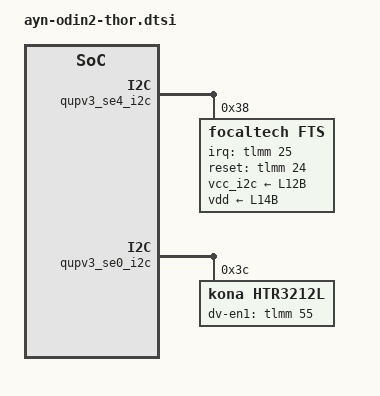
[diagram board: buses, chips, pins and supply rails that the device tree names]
/*
 * AYN Odin 2 Thor board device tree (CAF /plugin/ overlay body).
 *
 * FIRST-CUT GOAL: a clean-compiling, correctly-wired overlay that produces a
 * merged ayn-odin2-thor-overlay*.dtbo paired with kalamap-qcs.dtb (QCS8550).
 *
 * Strategy: reuse the proven-compiling kalama-qrd board overrides (storage,
 * volume key, LRA haptics @1300mV, microSD, UFS, USB redriver/eUSB2, touch,
 * PMIC LED switches) by #include, then layer ONLY Thor-specific deltas that
 * reference node labels guaranteed to exist in that include chain / kalama
 * base. Thor's dual-panel display (CH13726A + ICNA3520), FocalTech dual-touch,
 * htr3212 RGB controllers, and Bluetooth enable are deferred to the
 * hardware-iteration phase (they need new panel dtsi + a display techpack
 * overlay and are listed in risks).
 *
 * Hardware identity reference: LineageOS Gerrit 476787 (qcs8550-ayntec-thor),
 * compatible "ayntec,thor","qcom,qcs8550","qcom,sm8550".
 */

#include <dt-bindings/gpio/gpio.h>
#include <dt-bindings/input/input.h>

/*
 * Pull in the full, verified kalama-qrd board hardware. This already provides
 * &sdhc_2, &soc/gpio_key (volume up on pm8550_gpios 6), &pm8550b_haptics
 * (LRA, vmax 1300mV), &ufsphy_mem/&ufshc_mem, &pm8550_switch0/1/2,
 * &pm8550_flash, &qupv3_se4_spi touch, &usb0 / redriver / eusb2, &battery_charger,
 * &regulator_ocp_notifier, &pcie0 -- all referencing kalama base labels.
 */
#include "kalama-qrd.dtsi"

/*
 * Thor delta: add the AYN hardware button (KEY_F24) alongside the volume key.
 * gpio_key is (re)declared under &soc by kalama-qrd.dtsi; we extend it here.
 * gpio41 is the AYN/custom key per the THOR stock tree and Gerrit 476787.
 * Only &soc and &tlmm are referenced, both of which exist in the kalama base.
 */
&soc {
	gpio_key {
		ayn_key {
			label = "ayn_key";
			gpios = <&tlmm 41 GPIO_ACTIVE_LOW>;
			linux,input-type = <1>;
			linux,code = <KEY_F24>;
			gpio-key,wakeup;
			debounce-interval = <15>;
			linux,can-disable;
		};
	};
};

/*
 * Thor main touch = FocalTech FTS (focaltech@38) on QUP SE4 *I2C* (i2c@a90000),
 * not the goodix-on-SE4-SPI that kalama-qrd.dtsi wires up. SE4 I2C and SE4 SPI
 * are the same physical controller (reg a90000); only one may be active.
 *
 * Proven against the live AYN tree (/home/reddragon/thor-dt-dump/live-fdt.dts):
 *   i2c@a90000 status="okay" with focaltech@38; spi@a90000 status="disabled".
 *   focaltech@38: irq=tlmm25, reset=tlmm24 (same GPIOs as goodix), coords
 *   1080x1920 (0x438 x 0x780), max-touch 10, vcc_i2c=L12B(pm_humu_l12 1.8V),
 *   vdd=L14B(pm_humu_l14 3.0V, == goodix avdd).
 *
 * All referenced labels exist in the kalama base our overlay compiles against:
 *   &qupv3_se4_spi, &qupv3_se4_i2c (kalama-qupv3.dtsi),
 *   &tlmm, &ts_active/&ts_int_suspend/&ts_reset_suspend/&ts_release
 *   (kalama-pinctrl.dtsi -- note the live AYN ts_int_active/ts_reset_active are
 *   NOT in the kalama base, so we reuse the base &ts_active which muxes the same
 *   gpio24+gpio25), &L12B/&L14B (kalama-regulators.dtsi).
 */

/* Turn OFF goodix (kalama-qrd default) on SE4 SPI so SE4 can host I2C touch. */
&qupv3_se4_spi {
	status = "disabled";
};

/* Turn ON SE4 I2C and attach the FocalTech FTS controller. */
&qupv3_se4_i2c {
	status = "ok";
	#address-cells = <1>;
	#size-cells = <0>;

	focaltech@38 {
		compatible = "focaltech,fts";
		reg = <0x38>;
		qcom,i2c-touch-active = "focaltech,fts";

		interrupt-parent = <&tlmm>;
		interrupts = <25 0x2008>;
		focaltech,irq-gpio = <&tlmm 25 0x2008>;
		focaltech,reset-gpio = <&tlmm 24 0x00>;

		focaltech,display-coords = <0 0 1080 1920>;
		focaltech,max-touch-number = <10>;

		vcc_i2c-supply = <&L12B>;
		vdd-supply = <&L14B>;

		pinctrl-names = "pmx_ts_active", "pmx_ts_suspend",
				"pmx_ts_release";
		pinctrl-0 = <&ts_active>;
		pinctrl-1 = <&ts_int_suspend &ts_reset_suspend>;
		pinctrl-2 = <&ts_release>;
		/*
		 * Live tree adds panel = <&dsi_icna3520_1080p_dsc_cmd> to bind
		 * touch suspend to panel power, but that label lives in the
		 * separate display techpack overlay, NOT in this board overlay's
		 * base -- referencing it here would be an unresolved fixup.
		 * Omitted intentionally (FocalTech driver self-manages suspend).
		 */
	};
};

/*
 * Thor RGB indicator LED = HTR3212L (htr3212l@3c, "kona,htr3212l") on QUP SE0
 * I2C (i2c@a80000 == &qupv3_se0_i2c, disabled in kalama base). Live tree node
 * carries only reg + dv-en1 enable-gpio (tlmm55). &qupv3_se0_i2c and &tlmm both
 * exist in the kalama base.
 */
&qupv3_se0_i2c {
	status = "ok";
	#address-cells = <1>;
	#size-cells = <0>;

	htr3212l@3c {
		compatible = "kona,htr3212l";
		reg = <0x3c>;
		htr3212l,dv-en1 = <&tlmm 55 0x00>;
	};
};

/*
 * Haptics (qcom,hv-haptics@f000 on pm8550b) is already enabled with the exact
 * Thor values (vmax 1300mV, lra-period 5880us, status=ok) by the included
 * kalama-qrd.dtsi &pm8550b_haptics override -- live tree matches byte-for-byte.
 * No Thor-specific haptics addition required here.
 */
